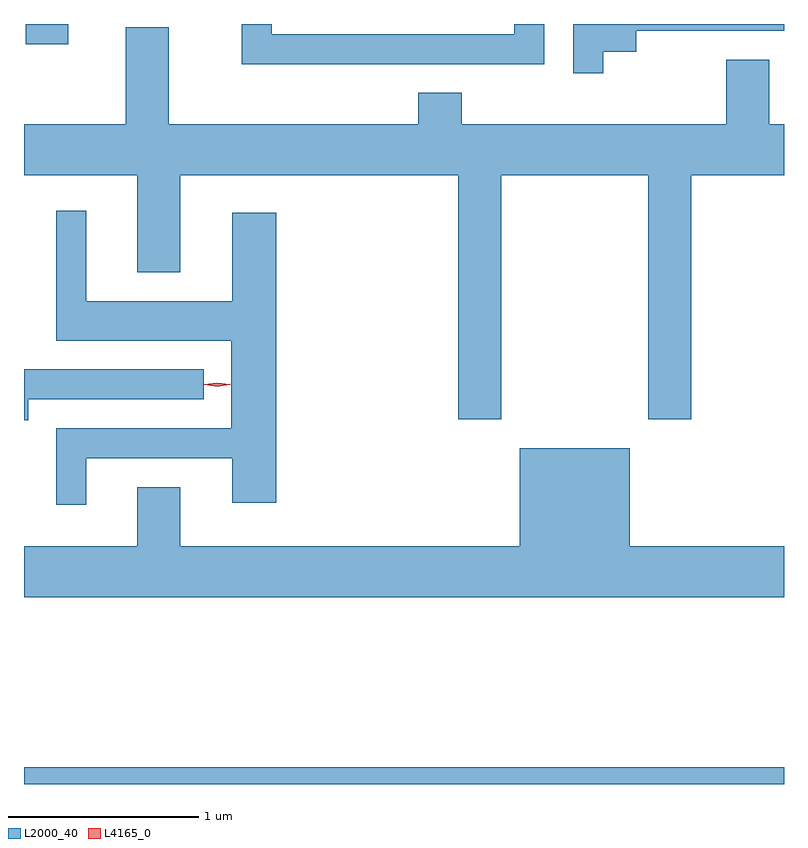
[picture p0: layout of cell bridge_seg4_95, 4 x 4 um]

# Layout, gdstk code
import gdstk
lib = gdstk.Library(unit=1e-6, precision=1e-09)
def R(c, l, rs):  # rectangles x0, y0, x1, y1
    for r in rs: c.add(gdstk.rectangle(r[:2], r[2:], *l))
def P(c, l, *ps):  # polygons
    for p in ps: c.add(gdstk.Polygon(p, *l))
L2000_40 = (2000, 40)
L4165_0 = (4165, 0)

bridge_seg4_95 = lib.new_cell('bridge_seg4_95')
R(bridge_seg4_95, L2000_40, [(982.286,1360.352,986.286,1360.439), (982.296,1364.246,982.519,1364.352)])
P(bridge_seg4_95, L2000_40, [(985.024,1364.352),(984.866,1364.352),(984.866,1364.299),(983.589,1364.299),(983.589,1364.352),(983.431,1364.352),(983.431,1364.141),(985.024,1364.141)],
  [(985.334,1364.206),(985.509,1364.206),(985.509,1364.316),(986.286,1364.316),(986.286,1364.352),(985.176,1364.352),(985.176,1364.093),(985.334,1364.093)],
  [(984.799,1363.556),(985.571,1363.556),(985.571,1362.271),(985.799,1362.271),(985.799,1363.556),(986.286,1363.556),(986.286,1363.824),(986.209,1363.824),(986.209,1364.164),(985.981,1364.164),(985.981,1363.824),(984.589,1363.824),(984.589,1363.989),(984.361,1363.989),(984.361,1363.824),(983.049,1363.824),(983.049,1364.334),(982.821,1364.334),(982.821,1363.824),(982.286,1363.824),(982.286,1363.556),(982.881,1363.556),(982.881,1363.046),(983.109,1363.046),(983.109,1363.556),(984.571,1363.556),(984.571,1362.271),(984.799,1362.271)],
  [(982.614,1362.066),(983.381,1362.066),(983.381,1361.831),(983.614,1361.831),(983.614,1363.359),(983.381,1363.359),(983.381,1362.894),(982.614,1362.894),(982.614,1363.368),(982.456,1363.368),(982.456,1362.686),(983.376,1362.686),(983.376,1362.224),(982.456,1362.224),(982.456,1361.823),(982.614,1361.823)],
  [(982.309,1362.376),(983.233,1362.376),(983.233,1362.534),(982.286,1362.534),(982.286,1362.266),(982.309,1362.266)],
  [(986.286,1361.604),(985.474,1361.604),(985.474,1362.119),(984.896,1362.119),(984.896,1361.604),(983.109,1361.604),(983.109,1361.914),(982.881,1361.914),(982.881,1361.604),(982.286,1361.604),(982.286,1361.336),(986.286,1361.336)])
P(bridge_seg4_95, L4165_0, [(983.303,1362.445),(983.234,1362.454),(983.233,1362.455),(983.234,1362.455),(983.303,1362.465),(983.372,1362.455),(983.372,1362.455),(983.372,1362.454)],
  [(983.303,1362.444),(983.238,1362.453),(983.237,1362.454),(983.238,1362.454),(983.303,1362.464),(983.369,1362.454),(983.37,1362.454),(983.369,1362.453)])

lib.write_gds('bridge_seg4_95.gds')
